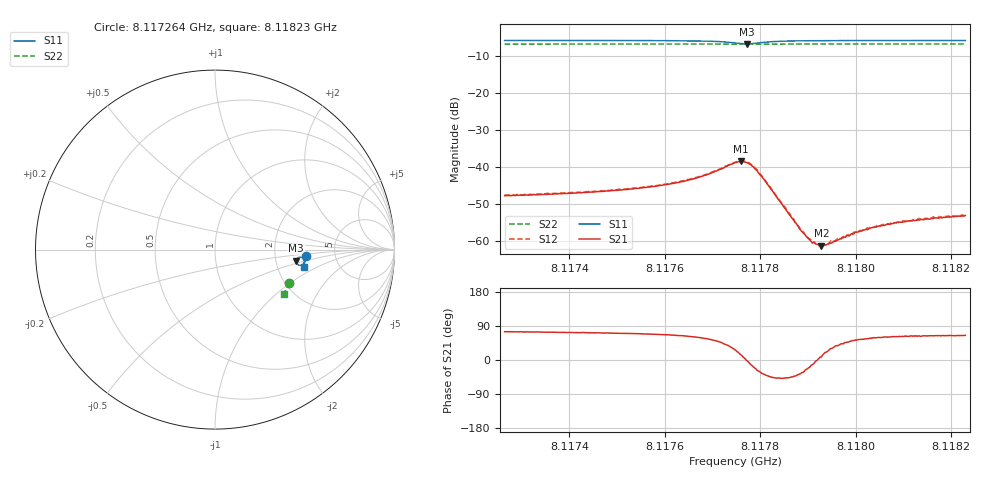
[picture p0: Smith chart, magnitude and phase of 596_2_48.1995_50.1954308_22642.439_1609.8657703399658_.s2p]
#  HZ  S  RI  R  50.00
! Rohde & Schwarz Vector Network Analyzer
! Rohde-Schwarz,ZNB20-2Port,1311601062101988,3.16
! Created: UTC 3/20/2024, 12:02:48 PM
! freq[Hz]  re:S11  im:S11  re:S21  im:S21  re:S12  im:S12  re:S22  im:S22
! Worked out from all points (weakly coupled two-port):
!   401 points, 8.117264 GHz to 8.11823 GHz, reference 50 ohm
!   highest |S21| = -38.53 dB at 8.117759 GHz (marker M1); lowest = -61.2 dB at 8.117928 GHz (marker M2)
!   lowest |S11| = -6.8 dB at 8.117771 GHz (marker M3), VSWR 2.67, Z = 130 - j20.4 ohm
!   |S11| at or under -10 dB: nowhere
!   |S22| runs from -6.9 to -6.8 dB; largest |S21 - S12| = 0.00045
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8.117264e9  0.5052 -0.0359  0.00109 0.00394  0.00116 0.00405  0.4123 -0.1858
8.1174259e9  0.5033 -0.0499  0.00136 0.00426  0.00143 0.00434  0.4078 -0.1963
8.1175419e9  0.501 -0.0612  0.0018 0.0048  0.00189 0.00487  0.4045 -0.2039
8.1175878e9  0.4994 -0.0664  0.00213 0.00514  0.00225 0.00525  0.4031 -0.2068
8.1176313e9  0.4969 -0.0722  0.00268 0.00562  0.0028 0.00568  0.4017 -0.2096
8.1176724e9  0.4923 -0.0787  0.00372 0.00626  0.00387 0.00634  0.4001 -0.2124
8.1176989e9  0.4866 -0.0837  0.00501 0.00667  0.00513 0.00679  0.3991 -0.2142
8.1177473e9  0.4613 -0.0836  0.0101 0.00515  0.0102 0.00527  0.3965 -0.2167
8.1177593e9  0.4536 -0.0751  0.0115 0.00287  0.0118 0.00278  0.396 -0.2169
8.1177714e9  0.4512 -0.0622  0.0115 -0.000196  0.0118 -0.000257  0.3955 -0.217
8.1177835e9  0.4566 -0.0499  0.0098 -0.00272  0.0101 -0.00282  0.3957 -0.2173
8.117798e9  0.4684 -0.0426  0.00699 -0.004  0.0073 -0.00433  0.3959 -0.218
8.117885e9  0.4971 -0.06  0.00114 -0.000818  0.00116 -0.000857  0.3942 -0.2242
8.1179043e9  0.4981 -0.0637  0.000977 -0.000331  0.001 -0.000385  0.3936 -0.2254
8.1179091e9  0.4982 -0.0644  0.000933 -0.000204  0.000909 -0.000221  0.3936 -0.226
8.1179285e9  0.4987 -0.0674  0.00086 0.00012  0.00089 0.000153  0.393 -0.2272
8.1179381e9  0.4988 -0.0689  0.000828 0.000315  0.000855 0.000313  0.3926 -0.2279
8.1179961e9  0.4987 -0.0763  0.00078 0.000971  0.000856 0.001  0.3906 -0.2315
8.1180275e9  0.4986 -0.0797  0.000814 0.00123  0.000806 0.00123  0.3896 -0.2334
8.118071e9  0.4982 -0.084  0.000814 0.00147  0.000807 0.00147  0.3883 -0.2362
8.1181363e9  0.4974 -0.0899  0.000902 0.00172  0.000937 0.00176  0.386 -0.2403
8.1182305e9  0.496 -0.098  0.000937 0.002  0.00101 0.00203  0.3825 -0.2459
